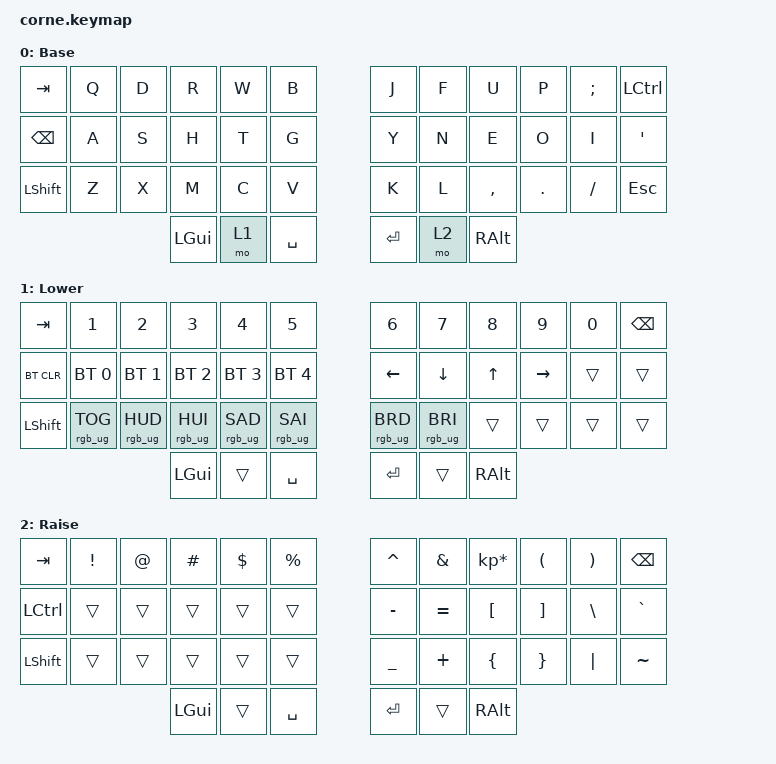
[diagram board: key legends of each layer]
/*
 * Copyright (c) 2020 The ZMK Contributors
 *
 * SPDX-License-Identifier: MIT
 */

#include <behaviors.dtsi>
#include <dt-bindings/zmk/bt.h>
#include <dt-bindings/zmk/keys.h>
#include <dt-bindings/zmk/rgb.h>

/ {
    keymap {
        compatible = "zmk,keymap";

        default_layer {
            // -----------------------------------------------------------------------------------------
            // |  TAB |  Q  |  W  |  E  |  R  |  T  |   |  Y  |  U   |  I  |  O  |  P  | BKSP |
            // | CTRL |  A  |  S  |  D  |  F  |  G  |   |  H  |  J   |  K  |  L  |  ;  |  '   |
            // | SHFT |  Z  |  X  |  C  |  V  |  B  |   |  N  |  M   |  ,  |  .  |  /  | ESC  |
            //                    | GUI | LWR | SPC |   | ENT | RSE  | ALT |

            display-name = "Base";
            bindings = <
&kp TAB        &kp Q  &kp D  &kp R     &kp W  &kp B        &kp J    &kp F  &kp U      &kp P    &kp SEMICOLON  &kp LCTRL
&kp BACKSPACE  &kp A  &kp S  &kp H     &kp T  &kp G        &kp Y    &kp N  &kp E      &kp O    &kp I          &kp SQT
&kp LSHFT      &kp Z  &kp X  &kp M     &kp C  &kp V        &kp K    &kp L  &kp COMMA  &kp DOT  &kp FSLH       &kp ESC
                             &kp LGUI  &mo 1  &kp SPACE    &kp RET  &mo 2  &kp RALT
            >;
        };

        lower_layer {
            // -----------------------------------------------------------------------------------------
            // |  TAB |  1  |  2  |  3  |  4  |  5  |   |  6  |  7  |  8  |  9  |  0  | BKSP |
            // | BTCLR| BT1 | BT2 | BT3 | BT4 | BT5 |   | LFT | DWN |  UP | RGT |     |      |
            // | SHFT |RGBTG|RGBHD|RGBHU|RGBSD|RGBSU|   |RGBBD|RGBBU|     |     |     |      |
            //                    | GUI |     | SPC |   | ENT |     | ALT |

            display-name = "Lower";
            bindings = <
&kp TAB     &kp N1        &kp N2        &kp N3        &kp N4        &kp N5          &kp N6         &kp N7         &kp N8    &kp N9     &kp N0  &kp BSPC
&bt BT_CLR  &bt BT_SEL 0  &bt BT_SEL 1  &bt BT_SEL 2  &bt BT_SEL 3  &bt BT_SEL 4    &kp LEFT       &kp DOWN       &kp UP    &kp RIGHT  &trans  &trans
&kp LSHFT   &rgb_ug RGB_TOG &rgb_ug RGB_HUD &rgb_ug RGB_HUI &rgb_ug RGB_SAD &rgb_ug RGB_SAI    &rgb_ug RGB_BRD &rgb_ug RGB_BRI &trans    &trans     &trans  &trans
                                        &kp LGUI      &trans        &kp SPACE       &kp RET        &trans         &kp RALT
            >;
        };

        raise_layer {
            // -----------------------------------------------------------------------------------------
            // |  TAB |  !  |  @  |  #  |  $  |  %  |   |  ^  |  &  |  *  |  (  |  )  | BKSP |
            // | CTRL |     |     |     |     |     |   |  -  |  =  |  [  |  ]  |  \  |  `   |
            // | SHFT |     |     |     |     |     |   |  _  |  +  |  {  |  }  | "|" |  ~   |
            //                    | GUI |     | SPC |   | ENT |     | ALT |

            display-name = "Raise";
            bindings = <
&kp TAB    &kp EXCL  &kp AT  &kp HASH  &kp DLLR  &kp PRCNT    &kp CARET  &kp AMPS   &kp KP_MULTIPLY  &kp LPAR  &kp RPAR  &kp BSPC
&kp LCTRL  &trans    &trans  &trans    &trans    &trans       &kp MINUS  &kp EQUAL  &kp LBKT         &kp RBKT  &kp BSLH  &kp GRAVE
&kp LSHFT  &trans    &trans  &trans    &trans    &trans       &kp UNDER  &kp PLUS   &kp LBRC         &kp RBRC  &kp PIPE  &kp TILDE
                             &kp LGUI  &trans    &kp SPACE    &kp RET    &trans     &kp RALT
            >;
        };

        extra_1 { status = "reserved"; };

        extra_2 { status = "reserved"; };

        extra_3 { status = "reserved"; };
    };
};

// Fix RGB underglow LED count 
// Note: Adjust this number to match your actual LED count per half
// Common values: 6, 12, or 27 LEDs per half depending on your Corne variant
&led_strip {
    chain-length = <12>;
};

// Fix nice_view display pin conflict by reassigning CS pin
&nice_view_spi {
    cs-gpios = <&pro_micro 0 GPIO_ACTIVE_HIGH>;  // Use D0 (008) for CS
};
